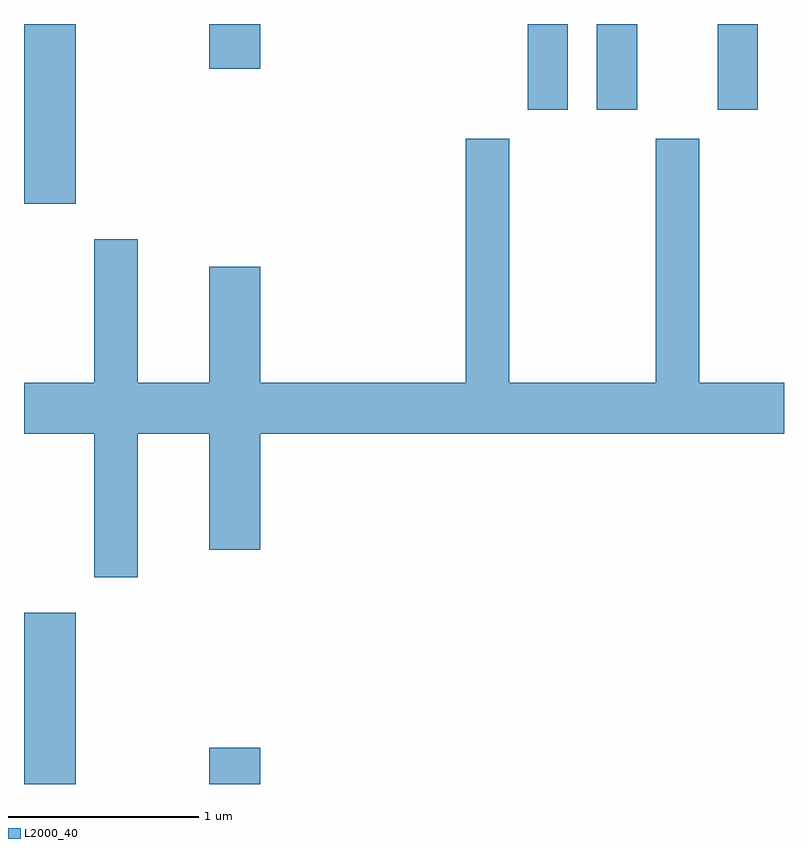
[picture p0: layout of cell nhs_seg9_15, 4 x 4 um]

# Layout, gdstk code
import gdstk
lib = gdstk.Library(unit=1e-6, precision=1e-09)
def R(c, l, rs):  # rectangles x0, y0, x1, y1
    for r in rs: c.add(gdstk.rectangle(r[:2], r[2:], *l))
def P(c, l, *ps):  # polygons
    for p in ps: c.add(gdstk.Polygon(p, *l))
L2000_40 = (2000, 40)

nhs_seg9_15 = lib.new_cell('nhs_seg9_15')
R(nhs_seg9_15, L2000_40, [(185.611,1974.432,185.884,1975.334), (186.586,1974.432,186.854,1974.624), (185.611,1977.486,185.884,1978.432), (188.261,1977.981,188.474,1978.432), (188.626,1977.981,188.839,1978.432), (189.261,1977.981,189.474,1978.432), (186.586,1978.196,186.854,1978.432)])
P(nhs_seg9_15, L2000_40, [(186.209,1976.276),(186.586,1976.276),(186.586,1975.666),(186.854,1975.666),(186.854,1976.276),(189.611,1976.276),(189.611,1976.544),(189.164,1976.544),(189.164,1977.829),(188.936,1977.829),(188.936,1976.544),(188.164,1976.544),(188.164,1977.829),(187.936,1977.829),(187.936,1976.544),(186.854,1976.544),(186.854,1977.154),(186.586,1977.154),(186.586,1976.544),(186.209,1976.544),(186.209,1977.299),(185.981,1977.299),(185.981,1976.544),(185.611,1976.544),(185.611,1976.276),(185.981,1976.276),(185.981,1975.521),(186.209,1975.521)])

lib.write_gds('nhs_seg9_15.gds')
